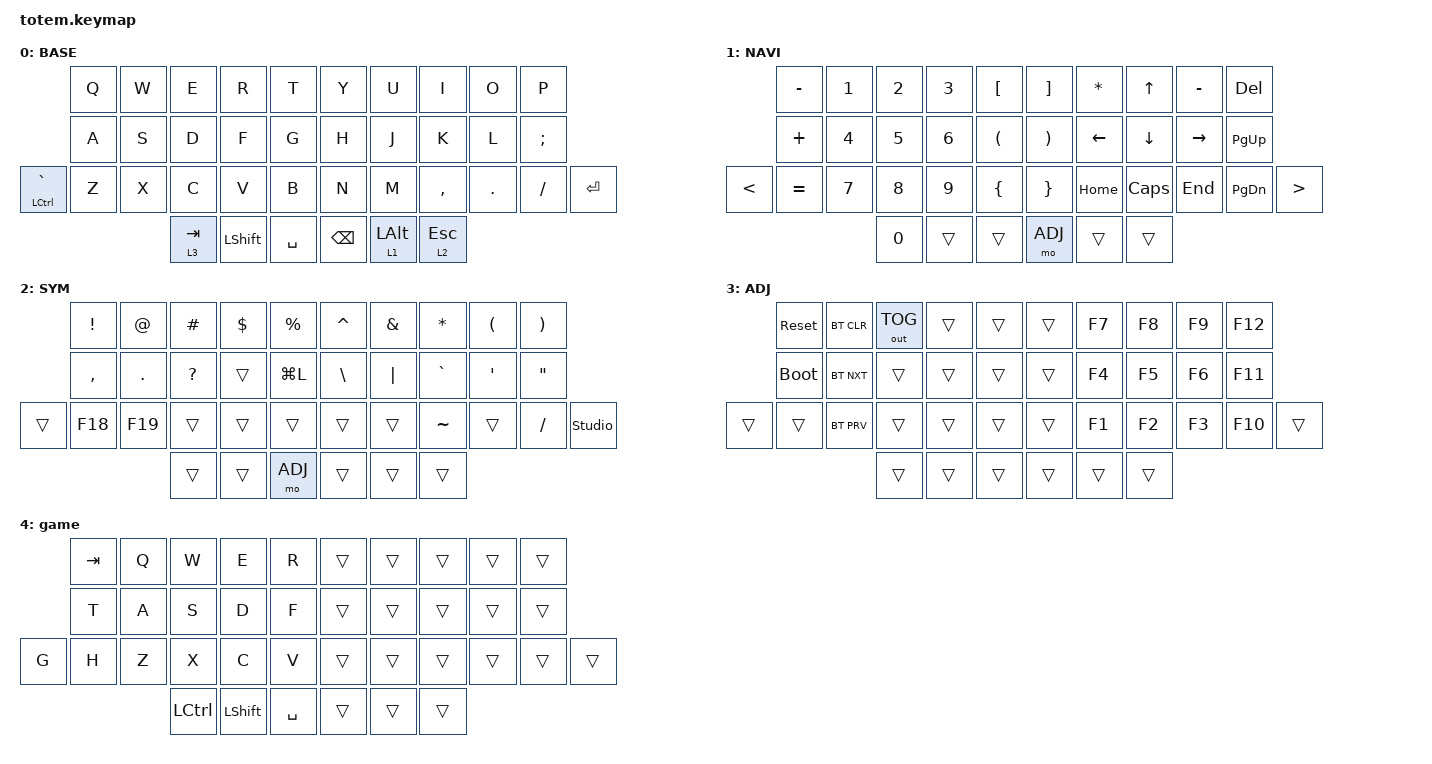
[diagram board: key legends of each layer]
//
//                                                        ▀▀▀▀▀     ▀▀▀▀▀          ▀▀█▀▀
//                                                        ▄▀▀▀▄  ▄  ▄▀▀▀▄  ▄  ▄▀▀▀▄  █  ▄▀▀▀▄
//                                                        █   █  █  █   █  █  █   █  █  █   █
//                                                         ▀▀▀   █   ▀▀▀   █   ▀▀▀   ▀   ▀▀▀
//                                                               █      ▄▄▄█▄▄▄    █   █  
//                                                               ▀      █  █  █     █▄█
//                                                             ▀▀▀▀▀    █  █  █      ▀
//                                                                      ▀  ▀  ▀
//
// ▄▄▄▄▄▄▄▄▄▄▄▄▄▄▄▄▄▄▄▄▄▄▄▄▄▄▄▄▄▄▄▄▄▄▄▄▄▄▄▄▄▄▄▄▄▄▄▄▄▄▄▄▄▄▄▄▄▄▄▄▄▄▄▄▄▄▄▄▄▄▄▄▄▄▄▄▄▄▄▄▄▄▄▄▄▄▄▄▄▄▄▄▄▄▄▄▄▄▄▄▄▄▄▄▄▄▄▄▄▄▄▄▄▄▄▄▄▄▄▄▄▄▄▄▄▄▄▄▄▄▄▄▄▄▄▄▄▄▄▄▄▄▄▄▄▄▄▄▄

#include <behaviors.dtsi>
#include <dt-bindings/zmk/bt.h>
#include <dt-bindings/zmk/keys.h>
#include <dt-bindings/zmk/outputs.h>

#define BASE 0
#define NAV  1
#define SYM  2
#define ADJ  3

&mt {
    quick-tap-ms = <100>;
    global-quick-tap;
    flavor = "tap-preferred";
    tapping-term-ms = <170>;
};

/ {
    combos {
        compatible = "zmk,combos";

        combo_esc {
            timeout-ms = <50>;
            key-positions = <0 1>;
            bindings = <&kp ESC>;
        };

        return {
            bindings = <&kp RET>;
            key-positions = <16 17 18>;
        };

        game {
            bindings = <&tog 4>;
            key-positions = <1 2 3 6 7 8>;
        };

        clipboard {
            bindings = <&kp LG(V)>;
            key-positions = <21 22 23>;
        };

        copy {
            bindings = <&kp LC(C)>;
            key-positions = <21 22>;
        };

        paste {
            bindings = <&kp LC(V)>;
            key-positions = <23 22>;
        };

        super {
            bindings = <&kp LEFT_GUI>;
            key-positions = <5 6>;
        };

        screenshot {
            bindings = <&kp LG(S)>;
            key-positions = <9 8>;
        };
    };

    keymap {
        compatible = "zmk,keymap";

        // ▄▄▄▄▄▄▄▄▄▄▄▄▄▄▄▄▄▄▄▄▄▄▄▄▄▄▄▄▄▄▄▄▄▄▄▄▄▄▄▄▄▄▄▄▄▄▄▄▄▄▄▄▄▄▄▄▄▄▄▄▄▄▄▄▄▄▄▄▄▄▄▄▄▄▄▄▄▄▄▄▄▄▄▄▄▄▄▄▄▄▄▄▄▄▄▄▄▄▄▄▄▄▄▄▄▄▄▄▄▄▄▄▄▄▄▄▄▄▄▄▄▄▄▄▄▄▄▄▄▄▄▄▄▄▄▄▄▄▄▄▄▄▄▄▄▄▄▄▄

        base_layer {
            // ┏━━━━━━━━━━━━━━━━━━━━━━━━━━━━━━━━━━━━━━━┓

            label = "BASE";

            // ┗━━━━━━━━━━━━━━━━━━━━━━━━━━━━━━━━━━━━━━━┛
            //             ┏━━━━━━━━━━━┳━━━━━━━━━━━┳━━━━━━━━━━━┳━━━━━━━━━━━┳━━━━━━━━━━━┓   ┏━━━━━━━━━━━┳━━━━━━━━━━━┳━━━━━━━━━━━┳━━━━━━━━━━━┳━━━━━━━━━━━┓
            //             ┃     Q     ┃     W     ┃     E     ┃     R     ┃     T     ┃   ┃     Y     ┃     U     ┃     I     ┃     O     ┃     P     ┃
            //             ┣━━━━━━━━━━━╋━━━━━━━━━━━╋━━━━━━━━━━━╋━━━━━━━━━━━╋━━━━━━━━━━━┫   ┣━━━━━━━━━━━╋━━━━━━━━━━━╋━━━━━━━━━━━╋━━━━━━━━━━━╋━━━━━━━━━━━┫
            //             ┃     A     ┃     S     ┃     D     ┃     F     ┃     G     ┃   ┃     H     ┃     J     ┃     K     ┃     L     ┃     ;     ┃
            // ┏━━━━━━━━━━━╋━━━━━━━━━━━╋━━━━━━━━━━━╋━━━━━━━━━━━╋━━━━━━━━━━━╋━━━━━━━━━━━┫   ┣━━━━━━━━━━━╋━━━━━━━━━━━╋━━━━━━━━━━━╋━━━━━━━━━━━╋━━━━━━━━━━━╋━━━━━━━━━━━┓
            // ┃     Q     ┃     Z     ┃     X     ┃     C     ┃     V     ┃     B     ┃   ┃     N     ┃     M     ┃     ,     ┃     .     ┃     /     ┃     \     ┃
            // ┗━━━━━━━━━━━┻━━━━━━━━━━━┻━━━━━━━━━━━╋━━━━━━━━━━━╋━━━━━━━━━━━╋━━━━━━━━━━━┫   ┣━━━━━━━━━━━╋━━━━━━━━━━━╋━━━━━━━━━━━╋━━━━━━━━━━━┻━━━━━━━━━━━┻━━━━━━━━━━━┛
            //                                     ┃    DEL    ┃    TAB    ┃    SPC    ┃   ┃   ENTER   ┃           ┃   BSPC    ┃
            //                                     ┗━━━━━━━━━━━┻━━━━━━━━━━━┻━━━━━━━━━━━┛   ┗━━━━━━━━━━━┻━━━━━━━━━━━┻━━━━━━━━━━━┛

            bindings = <
                 &kp Q  &kp W  &kp E      &kp R           &kp T        &kp Y          &kp U           &kp I         &kp O    &kp P
                 &kp A  &kp S  &kp D      &kp F           &kp G        &kp H          &kp J           &kp K         &kp L    &kp SEMI
&mt LCTRL GRAVE  &kp Z  &kp X  &kp C      &kp V           &kp B        &kp N          &kp M           &kp COMMA     &kp DOT  &kp FSLH  &kp ENTER
                               &lt 3 TAB  &kp LEFT_SHIFT  &kp SPACE    &kp BACKSPACE  &lt 1 LEFT_ALT  &lt 2 ESCAPE
            >;
        };

        // ▄▄▄▄▄▄▄▄▄▄▄▄▄▄▄▄▄▄▄▄▄▄▄▄▄▄▄▄▄▄▄▄▄▄▄▄▄▄▄▄▄▄▄▄▄▄▄▄▄▄▄▄▄▄▄▄▄▄▄▄▄▄▄▄▄▄▄▄▄▄▄▄▄▄▄▄▄▄▄▄▄▄▄▄▄▄▄▄▄▄▄▄▄▄▄▄▄▄▄▄▄▄▄▄▄▄▄▄▄▄▄▄▄▄▄▄▄▄▄▄▄▄▄▄▄▄▄▄▄▄▄▄▄▄▄▄▄▄▄▄▄▄▄▄▄▄▄▄▄

        nav_layer {
            // ┏━━━━━━━━━━━━━━━━━━━━━━━━━━━━━━━━━━━━━━━┓

            label = "NAVI";

            // ┗━━━━━━━━━━━━━━━━━━━━━━━━━━━━━━━━━━━━━━━┛
            //             ┏━━━━━━━━━━━┳━━━━━━━━━━━┳━━━━━━━━━━━┳━━━━━━━━━━━┳━━━━━━━━━━━┓   ┏━━━━━━━━━━━┳━━━━━━━━━━━┳━━━━━━━━━━━┳━━━━━━━━━━━┳━━━━━━━━━━━┓
            //             ┃           ┃           ┃     UP    ┃           ┃     {     ┃   ┃     }     ┃     7     ┃     8     ┃     9     ┃     +     ┃
            //             ┣━━━━━━━━━━━╋━━━━━━━━━━━╋━━━━━━━━━━━╋━━━━━━━━━━━╋━━━━━━━━━━━┫   ┣━━━━━━━━━━━╋━━━━━━━━━━━╋━━━━━━━━━━━╋━━━━━━━━━━━╋━━━━━━━━━━━┫
            //             ┃   SHIFT   ┃   LEFT    ┃    DOWN   ┃   RIGHT   ┃     [     ┃   ┃     ]     ┃     4     ┃     5     ┃     6     ┃     -     ┃
            // ┏━━━━━━━━━━━╋━━━━━━━━━━━╋━━━━━━━━━━━╋━━━━━━━━━━━╋━━━━━━━━━━━╋━━━━━━━━━━━┫   ┣━━━━━━━━━━━╋━━━━━━━━━━━╋━━━━━━━━━━━╋━━━━━━━━━━━╋━━━━━━━━━━━╋━━━━━━━━━━━┓
            // ┃           ┃           ┃   P UP    ┃  C LOCK   ┃  P DOWN   ┃     (     ┃   ┃     )     ┃     1     ┃     2     ┃     3     ┃     *     ┃           ┃
            // ┗━━━━━━━━━━━┻━━━━━━━━━━━┻━━━━━━━━━━━╋━━━━━━━━━━━╋━━━━━━━━━━━╋━━━━━━━━━━━┫   ┣━━━━━━━━━━━╋━━━━━━━━━━━╋━━━━━━━━━━━╋━━━━━━━━━━━┻━━━━━━━━━━━┻━━━━━━━━━━━┛
            //                                     ┃           ┃    TAB    ┃    SPC    ┃   ┃    DEL    ┃     0     ┃           ┃
            //                                     ┗━━━━━━━━━━━┻━━━━━━━━━━━┻━━━━━━━━━━━┛   ┗━━━━━━━━━━━┻━━━━━━━━━━━┻━━━━━━━━━━━┛

            bindings = <
               &kp MINUS  &kp N1  &kp NUMBER_2  &kp N3  &kp LEFT_BRACKET        &kp RIGHT_BRACKET      &kp STAR        &kp UP_ARROW    &kp MINUS        &kp DEL
               &kp PLUS   &kp N4  &kp NUMBER_5  &kp N6  &kp LEFT_PARENTHESIS    &kp RIGHT_PARENTHESIS  &kp LEFT_ARROW  &kp DOWN_ARROW  &kp RIGHT_ARROW  &kp PG_UP
&kp LESS_THAN  &kp EQUAL  &kp N7  &kp N8        &kp N9  &kp LEFT_BRACE          &kp RIGHT_BRACE        &kp HOME        &kp CLCK        &kp END          &kp PAGE_DOWN  &kp GREATER_THAN
                                  &kp N0        &trans  &trans                  &mo ADJ                &trans          &trans
            >;
        };

        // ▄▄▄▄▄▄▄▄▄▄▄▄▄▄▄▄▄▄▄▄▄▄▄▄▄▄▄▄▄▄▄▄▄▄▄▄▄▄▄▄▄▄▄▄▄▄▄▄▄▄▄▄▄▄▄▄▄▄▄▄▄▄▄▄▄▄▄▄▄▄▄▄▄▄▄▄▄▄▄▄▄▄▄▄▄▄▄▄▄▄▄▄▄▄▄▄▄▄▄▄▄▄▄▄▄▄▄▄▄▄▄▄▄▄▄▄▄▄▄▄▄▄▄▄▄▄▄▄▄▄▄▄▄▄▄▄▄▄▄▄▄▄▄▄▄▄▄▄▄

        sim_layer {
            // ┏━━━━━━━━━━━━━━━━━━━━━━━━━━━━━━━━━━━━━━━┓

            label = "SYM";

            // ┗━━━━━━━━━━━━━━━━━━━━━━━━━━━━━━━━━━━━━━━┛
            //             ┏━━━━━━━━━━━┳━━━━━━━━━━━┳━━━━━━━━━━━┳━━━━━━━━━━━┳━━━━━━━━━━━┓   ┏━━━━━━━━━━━┳━━━━━━━━━━━┳━━━━━━━━━━━┳━━━━━━━━━━━┳━━━━━━━━━━━┓
            //             ┃     !     ┃     @     ┃     #     ┃     $     ┃     %     ┃   ┃     ˆ     ┃     &     ┃     Ü     ┃     '     ┃     "     ┃
            //             ┣━━━━━━━━━━━╋━━━━━━━━━━━╋━━━━━━━━━━━╋━━━━━━━━━━━╋━━━━━━━━━━━┫   ┣━━━━━━━━━━━╋━━━━━━━━━━━╋━━━━━━━━━━━╋━━━━━━━━━━━╋━━━━━━━━━━━┫
            //             ┃     Ä     ┃           ┃    SZ     ┃           ┃           ┃   ┃   MUTE    ┃   YEN     ┃   EURO    ┃  POUND    ┃     Ö     ┃
            // ┏━━━━━━━━━━━╋━━━━━━━━━━━╋━━━━━━━━━━━╋━━━━━━━━━━━╋━━━━━━━━━━━╋━━━━━━━━━━━┫   ┣━━━━━━━━━━━╋━━━━━━━━━━━╋━━━━━━━━━━━╋━━━━━━━━━━━╋━━━━━━━━━━━╋━━━━━━━━━━━┓
            // ┃           ┃  EMAIL1   ┃  EMAIL2   ┃           ┃           ┃           ┃   ┃   VOL-    ┃   VOL+    ┃   LAST    ┃   NEXT    ┃     \     ┃           ┃
            // ┗━━━━━━━━━━━┻━━━━━━━━━━━┻━━━━━━━━━━━╋━━━━━━━━━━━╋━━━━━━━━━━━╋━━━━━━━━━━━┫   ┣━━━━━━━━━━━╋━━━━━━━━━━━╋━━━━━━━━━━━╋━━━━━━━━━━━┻━━━━━━━━━━━┻━━━━━━━━━━━┛
            //                                     ┃           ┃    GIF    ┃    ADJ    ┃   ┃           ┃           ┃           ┃
            //                                     ┗━━━━━━━━━━━┻━━━━━━━━━━━┻━━━━━━━━━━━┛   ┗━━━━━━━━━━━┻━━━━━━━━━━━┻━━━━━━━━━━━┛

            bindings = <
        &kp EXCL   &kp AT      &kp HASH      &kp DLLR  &kp PRCNT    &kp CARET      &kp AMPS  &kp ASTERISK  &kp LPAR          &kp RPAR
        &kp COMMA  &kp PERIOD  &kp QUESTION  &trans    &kp LG(L)    &kp BACKSLASH  &kp PIPE  &kp GRAVE     &kp SINGLE_QUOTE  &kp DOUBLE_QUOTES
&trans  &kp F18    &kp F19     &trans        &trans    &trans       &trans         &trans    &kp TILDE     &trans            &kp SLASH          &studio_unlock
                               &trans        &trans    &mo ADJ      &trans         &trans    &trans
            >;
        };

        // ▄▄▄▄▄▄▄▄▄▄▄▄▄▄▄▄▄▄▄▄▄▄▄▄▄▄▄▄▄▄▄▄▄▄▄▄▄▄▄▄▄▄▄▄▄▄▄▄▄▄▄▄▄▄▄▄▄▄▄▄▄▄▄▄▄▄▄▄▄▄▄▄▄▄▄▄▄▄▄▄▄▄▄▄▄▄▄▄▄▄▄▄▄▄▄▄▄▄▄▄▄▄▄▄▄▄▄▄▄▄▄▄▄▄▄▄▄▄▄▄▄▄▄▄▄▄▄▄▄▄▄▄▄▄▄▄▄▄▄▄▄▄▄▄▄▄▄▄▄

        adjust_layer {
            // ┏━━━━━━━━━━━━━━━━━━━━━━━━━━━━━━━━━━━━━━━┓

            label = "ADJ";

            // ┗━━━━━━━━━━━━━━━━━━━━━━━━━━━━━━━━━━━━━━━┛
            //             ┏━━━━━━━━━━━┳━━━━━━━━━━━┳━━━━━━━━━━━┳━━━━━━━━━━━┳━━━━━━━━━━━┓   ┏━━━━━━━━━━━┳━━━━━━━━━━━┳━━━━━━━━━━━┳━━━━━━━━━━━┳━━━━━━━━━━━┓
            //             ┃   RESET   ┃ BT CLEAR  ┃  OUT TOG  ┃           ┃           ┃   ┃           ┃    F7     ┃    F8     ┃    F9     ┃    F12    ┃
            //             ┣━━━━━━━━━━━╋━━━━━━━━━━━╋━━━━━━━━━━━╋━━━━━━━━━━━╋━━━━━━━━━━━┫   ┣━━━━━━━━━━━╋━━━━━━━━━━━╋━━━━━━━━━━━╋━━━━━━━━━━━╋━━━━━━━━━━━┫
            //             ┃ BOOTLOAD  ┃ BT NEXT   ┃           ┃           ┃           ┃   ┃           ┃    F4     ┃    F5     ┃    F6     ┃    F11    ┃
            // ┏━━━━━━━━━━━╋━━━━━━━━━━━╋━━━━━━━━━━━╋━━━━━━━━━━━╋━━━━━━━━━━━╋━━━━━━━━━━━┫   ┣━━━━━━━━━━━╋━━━━━━━━━━━╋━━━━━━━━━━━╋━━━━━━━━━━━╋━━━━━━━━━━━╋━━━━━━━━━━━┓
            // ┃           ┃           ┃ BT PREV   ┃           ┃           ┃           ┃   ┃           ┃    F1     ┃    F2     ┃    F3     ┃    F10    ┃           ┃
            // ┗━━━━━━━━━━━┻━━━━━━━━━━━┻━━━━━━━━━━━╋━━━━━━━━━━━╋━━━━━━━━━━━╋━━━━━━━━━━━┫   ┣━━━━━━━━━━━╋━━━━━━━━━━━╋━━━━━━━━━━━╋━━━━━━━━━━━┻━━━━━━━━━━━┻━━━━━━━━━━━┛
            //                                     ┃           ┃           ┃           ┃   ┃           ┃           ┃           ┃
            //                                     ┗━━━━━━━━━━━┻━━━━━━━━━━━┻━━━━━━━━━━━┛   ┗━━━━━━━━━━━┻━━━━━━━━━━━┻━━━━━━━━━━━┛

            bindings = <
        &sys_reset   &bt BT_CLR  &out OUT_TOG  &trans  &trans    &trans  &kp F7  &kp F8  &kp F9  &kp F12
        &bootloader  &bt BT_NXT  &trans        &trans  &trans    &trans  &kp F4  &kp F5  &kp F6  &kp F11
&trans  &trans       &bt BT_PRV  &trans        &trans  &trans    &trans  &kp F1  &kp F2  &kp F3  &kp F10  &trans
                                 &trans        &trans  &trans    &trans  &trans  &trans
            >;
        };

        game {
            bindings = <
       &kp TAB  &kp Q  &kp W      &kp E           &kp R        &trans  &trans  &trans  &trans  &trans
       &kp T    &kp A  &kp S      &kp D           &kp F        &trans  &trans  &trans  &trans  &trans
&kp G  &kp H    &kp Z  &kp X      &kp C           &kp V        &trans  &trans  &trans  &trans  &trans  &trans
                       &kp LCTRL  &kp LEFT_SHIFT  &kp SPACE    &trans  &trans  &trans
            >;
        };
    };
};
